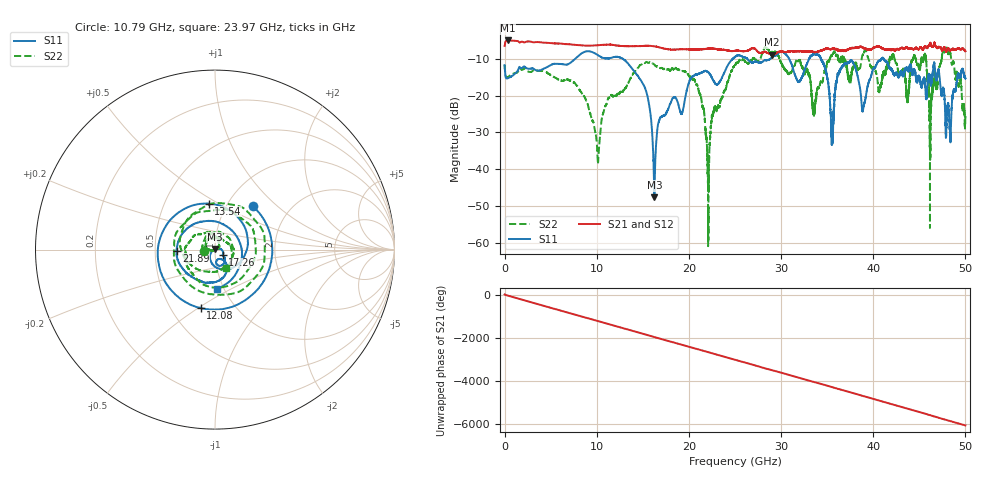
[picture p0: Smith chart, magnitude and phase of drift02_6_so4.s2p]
!Created with skrf (http://scikit-rf.org).
# Hz S RI R 50.0
!freq ReS11 ImS11 ReS21 ImS21 ReS12 ImS12 ReS22 ImS22
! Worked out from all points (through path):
!   10001 points, 300 kHz to 50 GHz, reference 50 ohm
!   highest |S21| = -5.04 dB at 325.3 MHz (marker M1); lowest = -8.9 dB at 28.98 GHz (marker M2)
!   group delay of S21, straight-line fit = 336 ps
!   lowest |S11| = -47.6 dB at 16.25 GHz (marker M3), VSWR 1.01, Z = 49.8 + j0.375 ohm
!   |S11| at or under -10 dB: start of sweep to 7.668 GHz; 12.81 GHz to 24.77 GHz (11.96 GHz wide, 63.6 % of centre); 41.13 GHz to end of sweep (the widest 3 of 12)
!   |S22| runs from -60.9 to -6.9 dB; largest |S21 - S12| = 0.03
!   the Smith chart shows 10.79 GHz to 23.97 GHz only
!   S11 on the Smith chart (normalised r, x): 10.79 GHz: 1.32, +0.71; 12.08 GHz: 0.70, -0.51; 13.54 GHz: 0.82, +0.45; 17.26 GHz: 1.09, -0.07; 21.89 GHz: 0.65, -0.01; 23.97 GHz: 0.92, -0.43
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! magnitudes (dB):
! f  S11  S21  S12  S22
! 300 kHz  -11.8  -6.5  -6.5  -11.7
! 325.3 MHz  -15.3  -5.0  -5.0  -15.1
! 8.335 GHz  -8.6  -6.4  -6.4  -19.2
! 10.11 GHz  -9.0  -6.4  -6.3  -37.6
! 10.79 GHz  -9.9  -6.2  -6.2  -23.9
! 12.08 GHz  -9.5  -6.4  -6.4  -20.2
! 13.54 GHz  -11.7  -6.6  -6.6  -16.0
! 16.25 GHz  -47.6  -6.7  -6.6  -11.6
! 16.67 GHz  -27.6  -6.8  -6.8  -12.2
! 17.26 GHz  -25.4  -7.2  -7.2  -12.9
! 20.74 GHz  -14.3  -7.5  -7.5  -16.8
! 21.89 GHz  -13.4  -7.3  -7.3  -31.3
! 23.97 GHz  -13.1  -7.7  -7.7  -18.4
! 25 GHz  -9.5  -7.9  -7.9  -11.8
! 28.98 GHz  -9.8  -8.9  -8.9  -8.2
! 33.34 GHz  -9.1  -8.0  -8.0  -19.9
! 35.54 GHz  -32.8  -7.3  -7.3  -9.2
! 36.79 GHz  -11.8  -7.9  -8.0  -9.8
! 41.67 GHz  -11.9  -7.4  -7.6  -11.6
! 46.24 GHz  -16.8  -6.0  -6.0  -24.6
! 48.11 GHz  -22.4  -7.3  -7.2  -8.6
! 50 GHz  -15.3  -7.9  -7.9  -25.9
